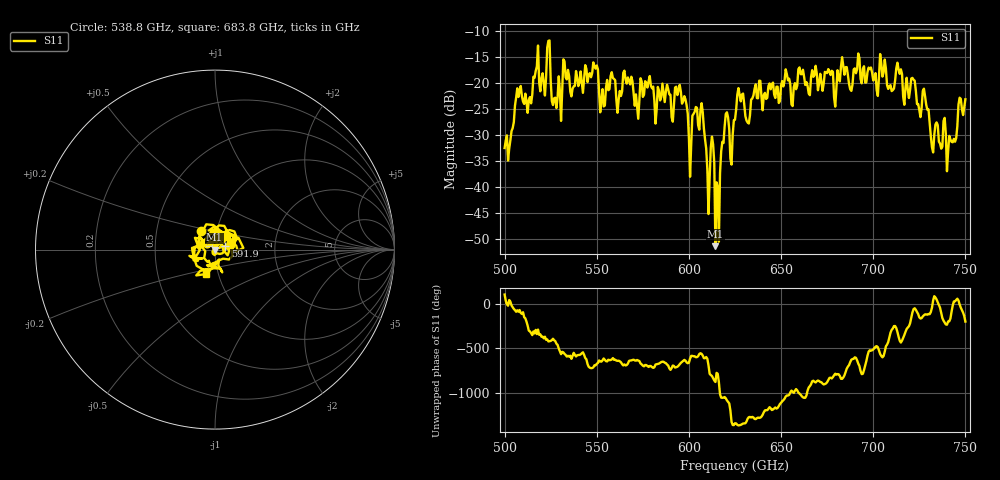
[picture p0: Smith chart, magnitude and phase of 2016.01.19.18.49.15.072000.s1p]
!Created with skrf (http://scikit-rf.org).
# GHz S RI R 50.0
!freq ReS11 ImS11
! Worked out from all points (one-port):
!   401 points, 500 GHz to 750 GHz, reference 50 ohm
!   lowest |S11| = -51.3 dB at 614.4 GHz (marker M1), VSWR 1.01, Z = 49.7 - j0.0876 ohm
!   |S11| at or under -10 dB: start of sweep to end of sweep
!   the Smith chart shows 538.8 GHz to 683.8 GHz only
!   S11 on the Smith chart (normalised r, x): 538.8 GHz: 0.84, +0.18; 591.9 GHz: 1.12, +0.04; 683.8 GHz: 0.87, -0.24
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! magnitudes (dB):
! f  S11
! 500 GHz  -32.5
! 516.9 GHz  -17.6
! 520.6 GHz  -18.1
! 523.8 GHz  -11.9
! 526.9 GHz  -22.9
! 531.2 GHz  -21.4
! 538.8 GHz  -17.7
! 549.4 GHz  -17.2
! 553.1 GHz  -21.1
! 558.8 GHz  -19.0
! 562.5 GHz  -21.5
! 565.6 GHz  -19.3
! 591.9 GHz  -24.2
! 593.8 GHz  -22.3
! 600.6 GHz  -38.0
! 607.5 GHz  -25.6
! 610 GHz  -36.6
! 612.5 GHz  -30.3
! 614.4 GHz  -51.3
! 615.6 GHz  -40.0
! 619.4 GHz  -28.3
! 625 GHz  -27.0
! 656.2 GHz  -24.4
! 683.8 GHz  -16.7
! 687.5 GHz  -21.2
! 718.8 GHz  -21.2
! 741.2 GHz  -30.1
! 750 GHz  -23.1
